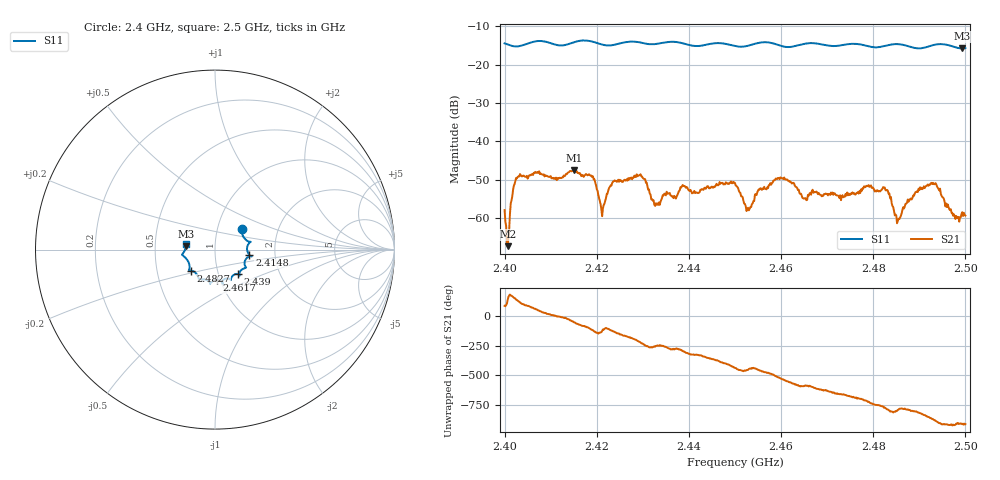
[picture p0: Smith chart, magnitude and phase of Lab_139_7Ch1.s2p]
# Hz S RI R 50
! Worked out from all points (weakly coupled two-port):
!   601 points, 2.4 GHz to 2.5 GHz, reference 50 ohm
!   highest |S21| = -47.57 dB at 2.415 GHz (marker M1); lowest = -67.4 dB at 2.4007 GHz (marker M2)
!   lowest |S11| = -15.8 dB at 2.4993 GHz (marker M3), VSWR 1.39, Z = 36 + j1.41 ohm
!   |S11| at or under -10 dB: start of sweep to end of sweep
!   S12 and S22 are empty: the file has one direction only
!   S11 on the Smith chart (normalised r, x): 2.4 GHz: 1.31, +0.31; 2.4148 GHz: 1.47, -0.09; 2.439 GHz: 1.24, -0.35; 2.4617 GHz: 0.96, -0.34; 2.4827 GHz: 0.75, -0.18; 2.5 GHz: 0.72, +0.05
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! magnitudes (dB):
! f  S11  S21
! 2.4 GHz  -14.4  -58.0
! 2.4007 GHz  -14.7  -67.4
! 2.403 GHz  -15.2  -49.2
! 2.4148 GHz  -14.2  -47.7
! 2.415 GHz  -14.2  -47.6
! 2.4167 GHz  -13.7  -49.1
! 2.4192 GHz  -14.0  -49.1
! 2.4212 GHz  -14.7  -59.5
! 2.4235 GHz  -14.9  -50.5
! 2.4292 GHz  -14.1  -48.9
! 2.4333 GHz  -14.5  -56.6
! 2.439 GHz  -14.5  -51.6
! 2.45 GHz  -15.1  -50.9
! 2.453 GHz  -15.0  -58.0
! 2.4617 GHz  -15.4  -50.3
! 2.4667 GHz  -14.4  -53.1
! 2.4827 GHz  -15.0  -52.7
! 2.4833 GHz  -14.9  -53.7
! 2.4855 GHz  -14.6  -60.2
! 2.4932 GHz  -14.8  -51.2
! 2.4993 GHz  -15.8  -58.5
! 2.5 GHz  -15.7  -59.4
